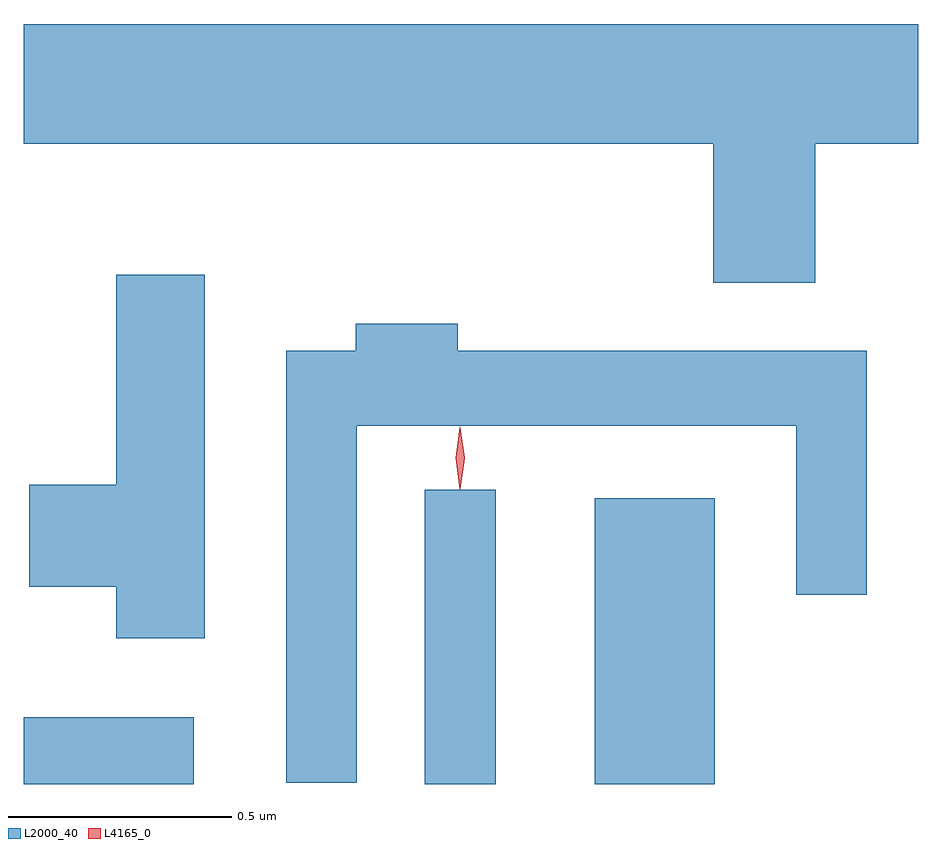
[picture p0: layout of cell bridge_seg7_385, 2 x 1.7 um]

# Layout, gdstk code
import gdstk
lib = gdstk.Library(unit=1e-6, precision=1e-09)
def R(c, l, rs):  # rectangles x0, y0, x1, y1
    for r in rs: c.add(gdstk.rectangle(r[:2], r[2:], *l))
def P(c, l, *ps):  # polygons
    for p in ps: c.add(gdstk.Polygon(p, *l))
L2000_40 = (2000, 40)
L4165_0 = (4165, 0)

bridge_seg7_385 = lib.new_cell('bridge_seg7_385')
R(bridge_seg7_385, L2000_40, [(1138.239,1741.745,1138.619,1741.894), (1139.136,1741.745,1139.294,1742.403), (1139.516,1741.745,1139.784,1742.384)])
P(bridge_seg7_385, L2000_40, [(1140.009,1743.176),(1140.239,1743.176),(1140.239,1743.444),(1138.239,1743.444),(1138.239,1743.176),(1139.781,1743.176),(1139.781,1742.866),(1140.009,1742.866)],
  [(1138.644,1742.884),(1138.446,1742.884),(1138.446,1742.414),(1138.251,1742.414),(1138.251,1742.186),(1138.446,1742.186),(1138.446,1742.071),(1138.644,1742.071)],
  [(1138.984,1742.546),(1139.966,1742.546),(1139.966,1742.168),(1140.124,1742.168),(1140.124,1742.714),(1139.209,1742.714),(1139.209,1742.774),(1138.981,1742.774),(1138.981,1742.714),(1138.826,1742.714),(1138.826,1741.748),(1138.984,1741.748)])
P(bridge_seg7_385, L4165_0, [(1139.214,1742.404),(1139.205,1742.473),(1139.214,1742.543),(1139.215,1742.543),(1139.215,1742.543),(1139.225,1742.473),(1139.215,1742.404),(1139.215,1742.404)],
  [(1139.214,1742.407),(1139.205,1742.474),(1139.214,1742.54),(1139.215,1742.541),(1139.215,1742.54),(1139.225,1742.474),(1139.215,1742.407),(1139.215,1742.407)])

lib.write_gds('bridge_seg7_385.gds')
